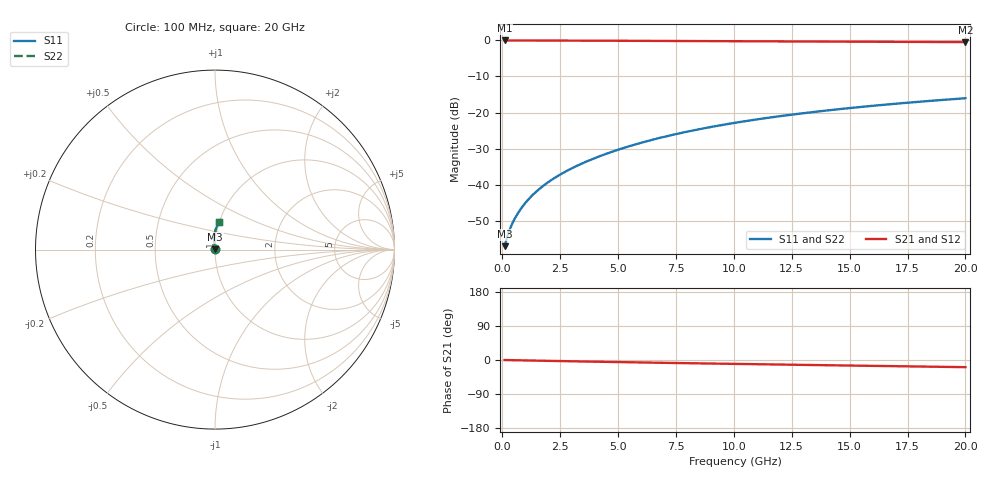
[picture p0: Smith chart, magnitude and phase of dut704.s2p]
! Touchstone file exported from HFSS 2024.1.0
!  File:  C:/UserFiles/LocalFiles/RDL_TSV_Batchsim/temp_RDL_bottom_704_1779857722.aedt
!  Generated:  12:57:42 PM May 27, 2026
!  Design:  RDL_bottom
!  Project:  temp_RDL_bottom_704_1779857722
!  Setup:  Setup1
!  Solution:  Sweep
! Variables:
!  dtsv = 10.80580581um
!  hbump = 3um
!  htsv = 76.42um
!  ldown = 273.78um
!  lrdl = 100um
!  p = 40
!  p1 = 47.94um
!  rhole = 1um
!  t = 450um
!  tdown = 3.41um
!  trdl = 3.915915916um
!  wdown = 29.72um
!  wrdl = 20um
# GHz S MA R 50.000000
! Terminal data exported
! Port[1] = RDL1_T1
! Port[2] = RDL1_T2
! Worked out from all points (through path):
!   200 points, 100 MHz to 20 GHz, reference 50 ohm
!   highest |S21| = -0.01 dB at 100 MHz (marker M1); lowest = -0.5 dB at 20 GHz (marker M2)
!   group delay of S21, straight-line fit = 2.58 ps
!   lowest |S11| = -57.1 dB at 100 MHz (marker M3), VSWR 1.00, Z = 50.1 + j0.0664 ohm
!   |S11| at or under -10 dB: start of sweep to end of sweep
!   |S22| runs from -57.1 to -16.0 dB; largest |S21 - S12| = 3.5e-15
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0.1  0.001399 28.3  0.9988 -0.1  0.9988 -0.1  0.001399 28.3
! Gamma 0 0 0 0
! Port Impedance 50 0 50 0
0.2  0.001826 43.8  0.9987 -0.2  0.9987 -0.2  0.001826 43.8
0.3  0.002286 52.4  0.9985 -0.4  0.9985 -0.4  0.002286 52.4
0.4  0.002741 58.3  0.9984 -0.5  0.9984 -0.5  0.002741 58.3
0.5  0.003196 62.7  0.9983 -0.6  0.9983 -0.6  0.003196 62.7
0.8  0.004605 71.9  0.9981 -0.9  0.9981 -0.9  0.004605 71.9
1  0.005586 76.0  0.9979 -1.2  0.9979 -1.2  0.005587 76.0
1.2  0.006598 79.1  0.9976 -1.4  0.9976 -1.4  0.006598 79.1
1.7  0.00924 84.5  0.9969 -2.0  0.9969 -2.0  0.00924 84.5
2.2  0.01203 88.0  0.9961 -2.5  0.9961 -2.5  0.01203 88.0
2.8  0.01558 90.9  0.9948 -3.2  0.9948 -3.2  0.01558 90.9
3.5  0.01999 93.2  0.993 -3.9  0.993 -3.9  0.01999 93.2
4.2  0.02471 94.7  0.991 -4.7  0.991 -4.7  0.02471 94.6
5  0.03044 95.6  0.9885 -5.5  0.9885 -5.5  0.03043 95.6
5.9  0.03727 96.1  0.9856 -6.4  0.9856 -6.4  0.03726 96.0
6.8  0.04443 96.0  0.9827 -7.3  0.9827 -7.3  0.04442 96.0
8.4  0.05775 95.0  0.9775 -8.8  0.9775 -8.8  0.05774 95.0
10.1  0.07241 93.4  0.9723 -10.4  0.9723 -10.4  0.07239 93.3
11.7  0.0864 91.5  0.9677 -11.8  0.9677 -11.8  0.08638 91.5
13.4  0.1013 89.4  0.9632 -13.3  0.9632 -13.3  0.1013 89.4
16.7  0.1299 85.3  0.955 -16.1  0.955 -16.1  0.1299 85.3
20  0.1578 81.4  0.9472 -18.9  0.9472 -18.9  0.1577 81.4
